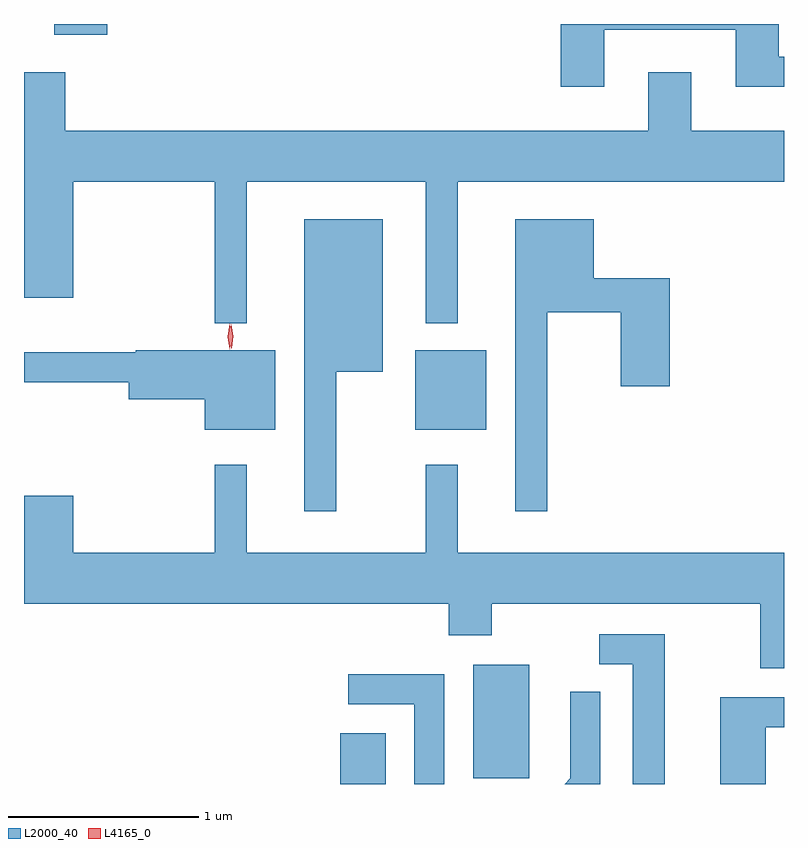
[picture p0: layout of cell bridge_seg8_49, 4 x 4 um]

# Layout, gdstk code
import gdstk
lib = gdstk.Library(unit=1e-6, precision=1e-09)
def R(c, l, rs):  # rectangles x0, y0, x1, y1
    for r in rs: c.add(gdstk.rectangle(r[:2], r[2:], *l))
def P(c, l, *ps):  # polygons
    for p in ps: c.add(gdstk.Polygon(p, *l))
L2000_40 = (2000, 40)
L4165_0 = (4165, 0)

bridge_seg8_49 = lib.new_cell('bridge_seg8_49')
R(bridge_seg8_49, L2000_40, [(1495.471,1906.507,1495.709,1906.774), (1496.171,1906.536,1496.464,1907.134), (1495.866,1908.371,1496.239,1908.789), (1493.966,1910.451,1494.244,1910.507)])
P(bridge_seg8_49, L2000_40, [(1496.859,1910.476),(1497.551,1910.476),(1497.551,1910.176),(1497.806,1910.176),(1497.806,1910.334),(1497.779,1910.334),(1497.779,1910.507),(1496.631,1910.507),(1496.631,1910.176),(1496.859,1910.176)],
  [(1494.979,1909.676),(1495.921,1909.676),(1495.921,1908.933),(1496.089,1908.933),(1496.089,1909.676),(1497.806,1909.676),(1497.806,1909.944),(1497.319,1909.944),(1497.319,1910.254),(1497.091,1910.254),(1497.091,1909.944),(1494.024,1909.944),(1494.024,1910.254),(1493.806,1910.254),(1493.806,1909.066),(1494.064,1909.066),(1494.064,1909.676),(1494.811,1909.676),(1494.811,1908.933),(1494.979,1908.933)],
  [(1495.449,1908.676),(1495.694,1908.676),(1495.694,1909.479),(1495.281,1909.479),(1495.281,1907.943),(1495.449,1907.943)],
  [(1496.559,1908.991),(1496.946,1908.991),(1496.946,1908.601),(1497.204,1908.601),(1497.204,1909.169),(1496.804,1909.169),(1496.804,1909.479),(1496.391,1909.479),(1496.391,1907.943),(1496.559,1907.943)],
  [(1495.129,1908.789),(1494.395,1908.789),(1494.395,1908.779),(1493.806,1908.779),(1493.806,1908.621),(1494.356,1908.621),(1494.356,1908.531),(1494.756,1908.531),(1494.756,1908.371),(1495.129,1908.371)],
  [(1496.041,1907.291),(1496.269,1907.291),(1496.269,1907.456),(1497.681,1907.456),(1497.681,1907.116),(1497.806,1907.116),(1497.806,1907.724),(1496.089,1907.724),(1496.089,1908.188),(1495.921,1908.188),(1495.921,1907.724),(1494.979,1907.724),(1494.979,1908.188),(1494.811,1908.188),(1494.811,1907.724),(1494.064,1907.724),(1494.064,1908.024),(1493.806,1908.024),(1493.806,1907.456),(1496.041,1907.456)],
  [(1497.179,1907.294),(1496.833,1907.294),(1496.833,1907.136),(1497.011,1907.136),(1497.011,1906.507),(1497.179,1906.507)],
  [(1496.019,1907.084),(1495.513,1907.084),(1495.513,1906.926),(1495.861,1906.926),(1495.861,1906.507),(1496.019,1906.507)],
  [(1496.839,1906.993),(1496.681,1906.993),(1496.681,1906.537),(1496.651,1906.507),(1496.839,1906.507)],
  [(1497.709,1906.806),(1497.806,1906.806),(1497.806,1906.964),(1497.471,1906.964),(1497.471,1906.507),(1497.709,1906.507)])
P(bridge_seg8_49, L4165_0, [(1494.898,1908.8),(1494.898,1908.8),(1494.888,1908.863),(1494.897,1908.926),(1494.898,1908.927),(1494.898,1908.926),(1494.908,1908.863),(1494.899,1908.8)],
  [(1494.888,1908.794),(1494.879,1908.862),(1494.888,1908.93),(1494.888,1908.93),(1494.889,1908.93),(1494.898,1908.862),(1494.889,1908.794),(1494.889,1908.794)])

lib.write_gds('bridge_seg8_49.gds')
